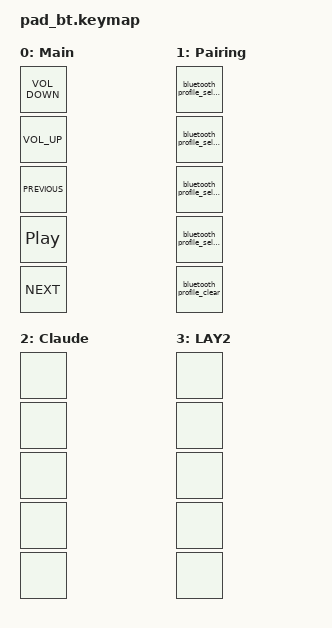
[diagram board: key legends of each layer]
#undef ZMK_BEHAVIORS_KEEP_ALL

#include <behaviors.dtsi>
#include <dt-bindings/zmk/keys.h>
#include <dt-bindings/zmk/bt.h>
// #include <dt-bindings/zmk/rgb.h>

/ {
     macros {
        go_to_bluetooth_layer: go_to_bluetooth_layer {
            compatible = "zmk,behavior-macro";
            #binding-cells = <0>;
            bindings = <&to 1>;
        };

        go_to_default_layer: go_to_default_layer {
            compatible = "zmk,behavior-macro";
            #binding-cells = <0>;
            bindings = <&to 0>;
        };

        bluetooth_profile_clear: bluetooth_profile_clear {
            compatible = "zmk,behavior-macro";
            #binding-cells = <0>;
            bindings = <&macro_tap &bt BT_CLR>;
        };

        bluetooth_profile_select_0: bluetooth_profile_select_0 {
            compatible = "zmk,behavior-macro";
            #binding-cells = <0>;
            bindings = <&macro_tap &bt BT_SEL 0>;
        };

        bluetooth_profile_select_1: bluetooth_profile_select_1 {
            compatible = "zmk,behavior-macro";
            #binding-cells = <0>;
            bindings = <&macro_tap &bt BT_SEL 1>;
        };

        bluetooth_profile_select_2: bluetooth_profile_select_2 {
            compatible = "zmk,behavior-macro";
            #binding-cells = <0>;
            bindings = <&macro_tap &bt BT_SEL 2>;
        };

        bluetooth_profile_select_3: bluetooth_profile_select_3 {
            compatible = "zmk,behavior-macro";
            #binding-cells = <0>;
            bindings = <&macro_tap &bt BT_SEL 3>;
        };
    };

    combos {
        compatible = "zmk,combos";
        combo_play_pause {
            timeout-ms = <50>;
            key-positions = <0 1>;
            bindings = <&studio_unlock>;
        };

        combo_bootloader {
            timeout-ms = <50>;
            key-positions = <0 1 2 3 4>;
            bindings = <&bootloader>;
        };

        combo_pairing {
            timeout-ms = <50>;
            key-positions = <2 3 4>;
            layers = <0>;
            bindings = <&go_to_bluetooth_layer>;
        };

        combo_exit_pairing {
            timeout-ms = <50>;
            key-positions = <2 3 4>;
            layers = <1>;
            bindings = <&go_to_default_layer>;
        };

        combo_lighting {
            timeout-ms = <50>;
            key-positions = <0 2>;
            layers = <0>;
            bindings = <&to 2>;
        };

        combo_exit_lighting {
            timeout-ms = <50>;
            key-positions = <0 2>;
            layers = <2>;
            bindings = <&to 0>;
        };

        combo_layer_2 {
            timeout-ms = <50>;
            key-positions = <1 3>;
            layers = <0>;
            bindings = <&to 3>;
        };

        combo_exit_layer_2 {
            timeout-ms = <50>;
            key-positions = <1 3>;
            layers = <3>;
            bindings = <&to 0>;
        };
    };

    keymap {
        compatible = "zmk,keymap";

        default_layer { // Layer 0
            display-name = "Main";
            // -------------------------------------
            //       |     Vol -/Layer 1     |     Vol +     |
            // |     Prev     |     Play     |     Next     |
            bindings = <
                &kp C_VOLUME_DOWN
                &kp C_VOLUME_UP
                &kp C_PREVIOUS
                &kp C_PLAY_PAUSE
                &kp C_NEXT
            >;
        };

        bluetooth_layer { // Layer 1
            display-name = "Pairing";
            // -------------------------------------
            //       |     BT 0     |     BT 1     |
            // |     BT 2    |     BT 3     |     BT CLR     |
            bindings = <
                &bluetooth_profile_select_0
                &bluetooth_profile_select_1
                &bluetooth_profile_select_2
                &bluetooth_profile_select_3
                &bluetooth_profile_clear
            >;
        };

        user_layer_1 { // Layer 2
            display-name = "Claude";
            // -------------------------------------
            //       |     RGB TOG     |     Brightness Up     |
            // |     None     |     Brightness Down    |     Hue     |
            bindings = <
                &none
                &none
                &none
                &none
                &none
            >;
        };

        user_layer_2 { // Layer 3
            display-name = "LAY2";
            // -------------------------------------
            //       |     RGB TOG     |     Brightness Up     |
            // |     None     |     Brightness Down    |     Hue     |
            bindings = <
                &none
                &none
                &none
                &none
                &none
            >;
        };
    };
 };
 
